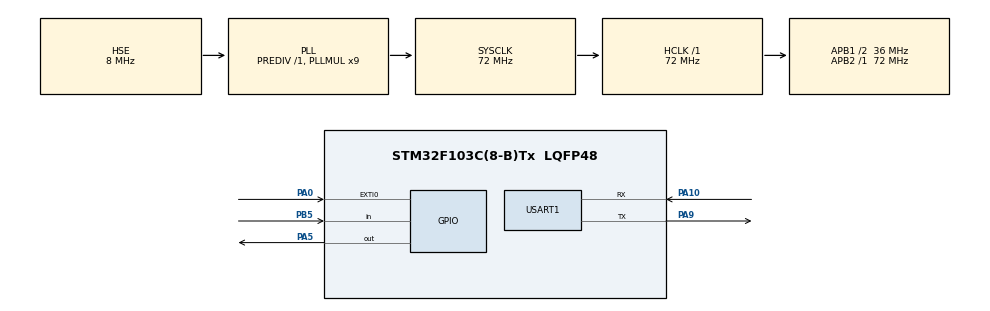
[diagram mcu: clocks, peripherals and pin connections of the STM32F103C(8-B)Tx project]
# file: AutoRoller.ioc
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Mcu.Family=STM32F1
Mcu.Name=STM32F103C(8-B)Tx
Mcu.Package=LQFP48
NVIC.EXTI0_IRQn=true\:0\:0\:false\:false\:true\:true\:true\:true
NVIC.PriorityGroup=NVIC_PRIORITYGROUP_4
NVIC.TIM2_IRQn=true\:0\:0\:false\:false\:true\:true\:true\:true
PA0-WKUP.GPIO_PuPd=GPIO_PULLDOWN
PA0-WKUP.Signal=GPXTI0
PA10.Mode=Asynchronous
PA10.Signal=USART1_RX
PA13.Mode=Serial_Wire
PA13.Signal=SYS_JTMS-SWDIO
PA14.Mode=Serial_Wire
PA14.Signal=SYS_JTCK-SWCLK
PA5.Signal=GPIO_Output
PA9.Mode=Asynchronous
PA9.Signal=USART1_TX
PB5.Signal=GPIO_Input
PD0-OSC_IN.Mode=HSE-External-Oscillator
PD0-OSC_IN.Signal=RCC_OSC_IN
PD1-OSC_OUT.Mode=HSE-External-Oscillator
PD1-OSC_OUT.Signal=RCC_OSC_OUT
ProjectManager.HeapSize=0x200
ProjectManager.StackSize=0x400
ProjectManager.TargetToolchain=STM32CubeIDE
RCC.AHBFreq_Value=72000000
RCC.APB1CLKDivider=RCC_HCLK_DIV2
RCC.APB1Freq_Value=36000000
RCC.APB1TimFreq_Value=72000000
RCC.APB2Freq_Value=72000000
RCC.APB2TimFreq_Value=72000000
RCC.HCLKFreq_Value=72000000
RCC.HSICalibrationValue=16
RCC.PLLMUL=RCC_PLL_MUL9
RCC.PLLSourceVirtual=RCC_PLLSOURCE_HSE
RCC.SYSCLKFreq_VALUE=72000000
RCC.SYSCLKSource=RCC_SYSCLKSOURCE_PLLCLK
RCC.USBFreq_Value=72000000
TIM2.Prescaler=719
USART1.VirtualMode=VM_ASYNC
VP_TIM2_VS_ClockSourceINT.Mode=Internal
board=custom

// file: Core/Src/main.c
/* USER CODE BEGIN Header */
/**
  ******************************************************************************
  * @file           : main.c
  * @brief          : Main program body
  ******************************************************************************
  * @attention
  *
  * Copyright (c) 2025 STMicroelectronics.
  * All rights reserved.
  *
  * This software is licensed under terms that can be found in the LICENSE file
  * in the root directory of this software component.
  * If no LICENSE file comes with this software, it is provided AS-IS.
  *
  ******************************************************************************
  */
/* USER CODE END Header */
#include "main.h"

/* USER CODE BEGIN Includes */
#include <stdio.h>
#include <string.h>
#include <stdlib.h>
#include <signals.h>
/* USER CODE END Includes */

TIM_HandleTypeDef htim2;

UART_HandleTypeDef huart1;

void SystemClock_Config(void);
static void MX_GPIO_Init(void);
static void MX_USART1_UART_Init(void);
static void MX_TIM2_Init(void);

/* USER CODE BEGIN 0 */

#define MAX_SIZE 2048
uint32_t values[MAX_SIZE][2] = {};
uint16_t counter  =0;
GPIO_PinState state = GPIO_PIN_RESET;
uint8_t bufferFlushed = 1;
int i= 0;
uint8_t closed = 0;
//

//
//

uint32_t micros()
{
    return ((counter<<16) | __HAL_TIM_GET_COUNTER(&htim2)) * 10;
}
void delay_us(uint32_t us)
{
    __HAL_TIM_SET_COUNTER(&htim2, 0);  // wyzeruj licznik
    HAL_TIM_Base_Start(&htim2);        // upewnij się, że timer działa
    while ((__HAL_TIM_GET_COUNTER(&htim2) * 10) < us);
}

void closeOfficeWindow(){
	  HAL_Delay(1000);
	  int length = sizeof(close_signal) / sizeof(close_signal[0]);
	  HAL_UART_Transmit(&huart1, (uint8_t*)"CLOSING | ", strlen("CLOSING | "), 500);
	  for (int i = 0; i < length; i++) {
		  HAL_GPIO_WritePin(GPIOA, GPIO_PIN_5, close_signal[i][0]);
		  delay_us(close_signal[i][1]);
	  }
	  HAL_GPIO_WritePin(GPIOA, GPIO_PIN_5, GPIO_PIN_RESET);
	  closed = 1;
}

void reset_timer(TIM_HandleTypeDef* timPtr){
	__HAL_TIM_SET_COUNTER(timPtr, 0);
	counter=0;
}

void printSignal(){
	char* buffer = (char* )calloc(MAX_SIZE, sizeof(char));

	strcat(buffer, "{");
	for(int index =0; index< MAX_SIZE; ++index){
		if(index % 100 == 0){
			HAL_UART_Transmit(&huart1, (uint8_t*)buffer, strlen(buffer), 500);
			HAL_Delay(100);
			memset(buffer, 0, MAX_SIZE);
		}
		if(values[index][0] == 0 &&  values[index][1] == 0){
			break;
		}
		char str[100] = {'\0'};
		sprintf(str, "{%lu, %lu},", values[index][0], values[index][1]);
		strcat(buffer, str);

	}
	strcat(buffer, "}\n");
	HAL_UART_Transmit(&huart1, (uint8_t*)buffer, strlen(buffer), 500);
	HAL_Delay(100);
	free(buffer);
}

void HAL_GPIO_EXTI_Callback(uint16_t GPIO_Pin)
{
  if (GPIO_Pin == GPIO_PIN_0)
  {
	  bufferFlushed = 0;
//	  if(++currentSize == MAX_SIZE){
//		  memset(buffer, 0, sizeof(buffer));
//		  currentSize=0;
//		  HAL_UART_Transmit(&huart1, buffer, sizeof(buffer), 100);
//	  }
//    buffer[currentSize]= HAL_GPIO_ReadPin(GPIOA, GPIO_Pin) ? '1' : '0';

//	  if(state != tmpState){
//		  uint32_t currentMicroSec =micros();
		  reset_timer(&htim2);
//		  values[i][0] =  !HAL_GPIO_ReadPin(GPIOA, GPIO_Pin);;
//		  values[i][1] =  currentMicroSec;
		  i++;
//		  int delta = (currentMicroSec-previousMicroSec)*10;
//		  char str[255] = {'\0'};
//		  sprintf(str, "{%u, %lu},", tmpState, currentMicroSec);
//		  strcat(buffer, str);  //
//		  HAL_UART_Transmit(&huart1, str, strlen(str), 100);
//		  previousMicroSec = currentMicroSec;
//		  state = tmpState;
//	  }

  }
}

void HAL_TIM_PeriodElapsedCallback(TIM_HandleTypeDef *htim)
{
    if (htim->Instance == TIM2)
    {
    	++counter;
    }
}
/* USER CODE END 0 */

int main(void)
{

  /* USER CODE BEGIN 1 */
//	uint8_t message[35] = {'\0'};
//	uint8_t num = 0;

  /* USER CODE END 1 */

  /* MCU Configuration--------------------------------------------------------*/

  /* Reset of all peripherals, Initializes the Flash interface and the Systick. */
  HAL_Init();

  /* Configure the system clock */
  SystemClock_Config();

  /* Initialize all configured peripherals */
  MX_GPIO_Init();
  MX_USART1_UART_Init();
  MX_TIM2_Init();
  /* USER CODE BEGIN 2 */
  HAL_Delay(500);
  HAL_TIM_Base_Start_IT(&htim2);
  /* USER CODE END 2 */

  /* Infinite loop */
  /* USER CODE BEGIN WHILE */
  HAL_UART_Transmit(&huart1, (uint8_t*)"OK | ", strlen("OK | "), 500);

  while (1)
  {

//	  HAL_UART_Transmit(&huart1, (uint8_t*)"OK | ", strlen("OK | "), 500);
	  HAL_Delay(100);
    /* USER CODE END WHILE */

    /* USER CODE BEGIN 3 */

//	  if(micros() >= (1000*1000 * 10) && !bufferFlushed){
//		  bufferFlushed = 1;
//		  i = 0;
//		  printSignal();
////		  if(strlen(buffer) > 0 && i < 3){
////			  HAL_UART_Transmit(&huart1, commends[i++], strlen(commends[i-1]), 500);
////		  }
////		  HAL_UART_Transmit(&huart1, (uint8_t*)buffer, strlen(buffer), 500);
////		  memset(buffer, 0, MAX_SIZE);
//	  }
	  if(HAL_GPIO_ReadPin(GPIOB, GPIO_PIN_5) == GPIO_PIN_SET && closed == 0){
		  closeOfficeWindow();
	  }
  }
  /* USER CODE END 3 */
}

void SystemClock_Config(void)
{
  RCC_OscInitTypeDef RCC_OscInitStruct = {0};
  RCC_ClkInitTypeDef RCC_ClkInitStruct = {0};

  /** Initializes the RCC Oscillators according to the specified parameters
  * in the RCC_OscInitTypeDef structure.
  */
  RCC_OscInitStruct.OscillatorType = RCC_OSCILLATORTYPE_HSE;
  RCC_OscInitStruct.HSEState = RCC_HSE_ON;
  RCC_OscInitStruct.HSEPredivValue = RCC_HSE_PREDIV_DIV1;
  RCC_OscInitStruct.HSIState = RCC_HSI_ON;
  RCC_OscInitStruct.PLL.PLLState = RCC_PLL_ON;
  RCC_OscInitStruct.PLL.PLLSource = RCC_PLLSOURCE_HSE;
  RCC_OscInitStruct.PLL.PLLMUL = RCC_PLL_MUL9;
  if (HAL_RCC_OscConfig(&RCC_OscInitStruct) != HAL_OK)
  {
    Error_Handler();
  }

  /** Initializes the CPU, AHB and APB buses clocks
  */
  RCC_ClkInitStruct.ClockType = RCC_CLOCKTYPE_HCLK|RCC_CLOCKTYPE_SYSCLK
                              |RCC_CLOCKTYPE_PCLK1|RCC_CLOCKTYPE_PCLK2;
  RCC_ClkInitStruct.SYSCLKSource = RCC_SYSCLKSOURCE_PLLCLK;
  RCC_ClkInitStruct.AHBCLKDivider = RCC_SYSCLK_DIV1;
  RCC_ClkInitStruct.APB1CLKDivider = RCC_HCLK_DIV2;
  RCC_ClkInitStruct.APB2CLKDivider = RCC_HCLK_DIV1;

  if (HAL_RCC_ClockConfig(&RCC_ClkInitStruct, FLASH_LATENCY_2) != HAL_OK)
  {
    Error_Handler();
  }
}

static void MX_TIM2_Init(void)
{

  TIM_ClockConfigTypeDef sClockSourceConfig = {0};
  TIM_MasterConfigTypeDef sMasterConfig = {0};

  htim2.Instance = TIM2;
  htim2.Init.Prescaler = 719;
  htim2.Init.CounterMode = TIM_COUNTERMODE_UP;
  htim2.Init.Period = 65535;
  htim2.Init.ClockDivision = TIM_CLOCKDIVISION_DIV1;
  htim2.Init.AutoReloadPreload = TIM_AUTORELOAD_PRELOAD_DISABLE;
  if (HAL_TIM_Base_Init(&htim2) != HAL_OK)
  {
    Error_Handler();
  }
  sClockSourceConfig.ClockSource = TIM_CLOCKSOURCE_INTERNAL;
  if (HAL_TIM_ConfigClockSource(&htim2, &sClockSourceConfig) != HAL_OK)
  {
    Error_Handler();
  }
  sMasterConfig.MasterOutputTrigger = TIM_TRGO_RESET;
  sMasterConfig.MasterSlaveMode = TIM_MASTERSLAVEMODE_DISABLE;
  if (HAL_TIMEx_MasterConfigSynchronization(&htim2, &sMasterConfig) != HAL_OK)
  {
    Error_Handler();
  }

}

static void MX_USART1_UART_Init(void)
{

  huart1.Instance = USART1;
  huart1.Init.BaudRate = 115200;
  huart1.Init.WordLength = UART_WORDLENGTH_8B;
  huart1.Init.StopBits = UART_STOPBITS_1;
  huart1.Init.Parity = UART_PARITY_NONE;
  huart1.Init.Mode = UART_MODE_TX_RX;
  huart1.Init.HwFlowCtl = UART_HWCONTROL_NONE;
  huart1.Init.OverSampling = UART_OVERSAMPLING_16;
  if (HAL_UART_Init(&huart1) != HAL_OK)
  {
    Error_Handler();
  }

}

static void MX_GPIO_Init(void)
{
  GPIO_InitTypeDef GPIO_InitStruct = {0};

  /* GPIO Ports Clock Enable */
  __HAL_RCC_GPIOD_CLK_ENABLE();
  __HAL_RCC_GPIOA_CLK_ENABLE();
  __HAL_RCC_GPIOB_CLK_ENABLE();

  /*Configure GPIO pin Output Level */
  HAL_GPIO_WritePin(GPIOA, GPIO_PIN_5, GPIO_PIN_RESET);

  /*Configure GPIO pin : PA0 */
  GPIO_InitStruct.Pin = GPIO_PIN_0;
  GPIO_InitStruct.Mode = GPIO_MODE_IT_RISING;
  GPIO_InitStruct.Pull = GPIO_PULLDOWN;
  HAL_GPIO_Init(GPIOA, &GPIO_InitStruct);

  /*Configure GPIO pin : PA5 */
  GPIO_InitStruct.Pin = GPIO_PIN_5;
  GPIO_InitStruct.Mode = GPIO_MODE_OUTPUT_PP;
  GPIO_InitStruct.Pull = GPIO_NOPULL;
  GPIO_InitStruct.Speed = GPIO_SPEED_FREQ_LOW;
  HAL_GPIO_Init(GPIOA, &GPIO_InitStruct);

  /*Configure GPIO pin : PB5 */
  GPIO_InitStruct.Pin = GPIO_PIN_5;
  GPIO_InitStruct.Mode = GPIO_MODE_INPUT;
  GPIO_InitStruct.Pull = GPIO_NOPULL;
  HAL_GPIO_Init(GPIOB, &GPIO_InitStruct);

  /* EXTI interrupt init*/
  HAL_NVIC_SetPriority(EXTI0_IRQn, 0, 0);
  HAL_NVIC_EnableIRQ(EXTI0_IRQn);

}

void Error_Handler(void)
{
  __disable_irq();
  while (1)
  {
  }
}
